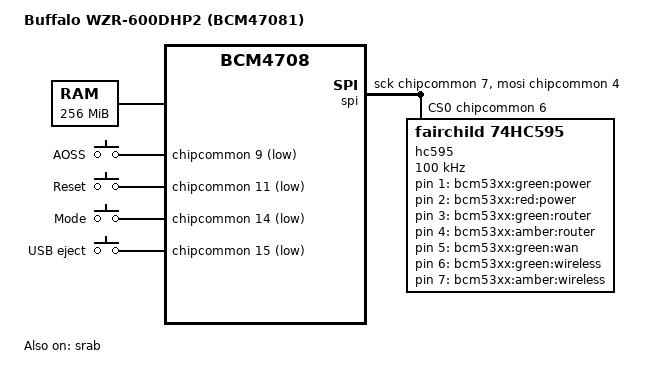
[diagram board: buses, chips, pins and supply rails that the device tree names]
// SPDX-License-Identifier: GPL-2.0-or-later OR MIT
/*
 * Broadcom BCM470X / BCM5301X ARM platform code.
 * DTS for Buffalo WZR-600DHP2
 *
 * Copyright (C) 2014 Rafał Miłecki <zajec5@gmail.com>
 */

/dts-v1/;

#include "bcm47081.dtsi"
#include "bcm5301x-nand-cs0-bch8.dtsi"

/ {
	compatible = "buffalo,wzr-600dhp2", "brcm,bcm47081", "brcm,bcm4708";
	model = "Buffalo WZR-600DHP2 (BCM47081)";

	chosen {
		bootargs = "console=ttyS0,115200 earlycon";
	};

	memory@0 {
		device_type = "memory";
		reg = <0x00000000 0x08000000>,
		      <0x88000000 0x08000000>;
	};

	spi {
		compatible = "spi-gpio";
		num-chipselects = <1>;
		sck-gpios = <&chipcommon 7 0>;
		mosi-gpios = <&chipcommon 4 0>;
		cs-gpios = <&chipcommon 6 0>;
		#address-cells = <1>;
		#size-cells = <0>;

		hc595: gpio_spi@0 {
			compatible = "fairchild,74hc595";
			reg = <0>;
			registers-number = <1>;
			spi-max-frequency = <100000>;

			gpio-controller;
			#gpio-cells = <2>;

		};
	};

	leds {
		compatible = "gpio-leds";

		led-power0 {
			label = "bcm53xx:green:power";
			gpios = <&hc595 1 GPIO_ACTIVE_HIGH>;
			linux,default-trigger = "default-on";
		};

		led-power1 {
			label = "bcm53xx:red:power";
			gpios = <&hc595 2 GPIO_ACTIVE_HIGH>;
		};

		led-router0 {
			label = "bcm53xx:green:router";
			gpios = <&hc595 3 GPIO_ACTIVE_HIGH>;
			linux,default-trigger = "default-on";
		};

		led-router1 {
			label = "bcm53xx:amber:router";
			gpios = <&hc595 4 GPIO_ACTIVE_HIGH>;
		};

		led-wan {
			label = "bcm53xx:green:wan";
			gpios = <&hc595 5 GPIO_ACTIVE_HIGH>;
			linux,default-trigger = "default-on";
		};

		led-wireless0 {
			label = "bcm53xx:green:wireless";
			gpios = <&hc595 6 GPIO_ACTIVE_HIGH>;
		};

		led-wireless1 {
			label = "bcm53xx:amber:wireless";
			gpios = <&hc595 7 GPIO_ACTIVE_HIGH>;
		};
	};

	gpio-keys {
		compatible = "gpio-keys";

		button-aoss {
			label = "AOSS";
			linux,code = <KEY_WPS_BUTTON>;
			gpios = <&chipcommon 9 GPIO_ACTIVE_LOW>;
		};

		button-restart {
			label = "Reset";
			linux,code = <KEY_RESTART>;
			gpios = <&chipcommon 11 GPIO_ACTIVE_LOW>;
		};

		/* Switch device mode? */
		button-mode {
			label = "Mode";
			linux,code = <KEY_SETUP>;
			gpios = <&chipcommon 14 GPIO_ACTIVE_LOW>;
		};

		button-eject {
			label = "USB eject";
			linux,code = <KEY_EJECTCD>;
			gpios = <&chipcommon 15 GPIO_ACTIVE_LOW>;
		};
	};
};

&srab {
	status = "okay";

	ports {
		port@0 {
			label = "lan1";
		};

		port@1 {
			label = "lan2";
		};

		port@2 {
			label = "lan3";
		};

		port@3 {
			label = "lan4";
		};

		port@4 {
			label = "wan";
		};

		port@5 {
			label = "cpu";
		};
	};
};
